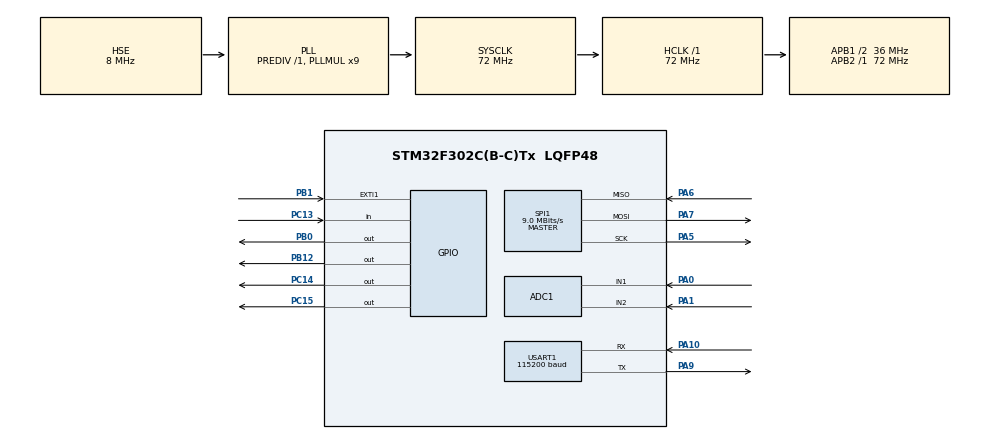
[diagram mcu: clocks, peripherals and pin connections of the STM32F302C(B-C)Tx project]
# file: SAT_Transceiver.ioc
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ADC1.Channel-0\#ChannelRegularConversion=ADC_CHANNEL_1
ADC1.Channel-1\#ChannelRegularConversion=ADC_CHANNEL_2
ADC1.ClockPrescaler=ADC_CLOCK_SYNC_PCLK_DIV2
ADC1.ContinuousConvMode=ENABLE
ADC1.DMAContinuousRequests=ENABLE
ADC1.DiscontinuousConvMode=DISABLE
ADC1.EOCSelection=ADC_EOC_SEQ_CONV
ADC1.ExternalTrigConv=ADC_EXTERNALTRIGCONV_T3_TRGO
ADC1.NbrOfConversion=2
ADC1.NbrOfConversionFlag=1
ADC1.Offset-0\#ChannelRegularConversion=0
ADC1.Offset-1\#ChannelRegularConversion=0
ADC1.OffsetNumber-0\#ChannelRegularConversion=ADC_OFFSET_NONE
ADC1.OffsetNumber-1\#ChannelRegularConversion=ADC_OFFSET_NONE
ADC1.Rank-0\#ChannelRegularConversion=1
ADC1.Rank-1\#ChannelRegularConversion=2
ADC1.SamplingTime-0\#ChannelRegularConversion=ADC_SAMPLETIME_601CYCLES_5
ADC1.SamplingTime-1\#ChannelRegularConversion=ADC_SAMPLETIME_601CYCLES_5
ADC1.SamplingTimeOPAMP-1\#ChannelRegularConversion=ADC_SAMPLETIME_7CYCLES_5
ADC1.master=1
Dma.ADC1.0.Direction=DMA_PERIPH_TO_MEMORY
Dma.ADC1.0.Instance=DMA1_Channel1
Dma.ADC1.0.MemDataAlignment=DMA_MDATAALIGN_HALFWORD
Dma.ADC1.0.MemInc=DMA_MINC_ENABLE
Dma.ADC1.0.Mode=DMA_CIRCULAR
Dma.ADC1.0.PeriphDataAlignment=DMA_PDATAALIGN_HALFWORD
Dma.ADC1.0.PeriphInc=DMA_PINC_DISABLE
Dma.ADC1.0.Priority=DMA_PRIORITY_LOW
Dma.Request0=ADC1
Dma.Request1=USART1_RX
Dma.USART1_RX.1.Direction=DMA_PERIPH_TO_MEMORY
Dma.USART1_RX.1.Instance=DMA1_Channel5
Dma.USART1_RX.1.MemDataAlignment=DMA_MDATAALIGN_BYTE
Dma.USART1_RX.1.MemInc=DMA_MINC_ENABLE
Dma.USART1_RX.1.Mode=DMA_NORMAL
Dma.USART1_RX.1.PeriphDataAlignment=DMA_PDATAALIGN_BYTE
Dma.USART1_RX.1.PeriphInc=DMA_PINC_DISABLE
Dma.USART1_RX.1.Priority=DMA_PRIORITY_LOW
FREERTOS.Tasks01=defaultTask,24,128,StartDefaultTask,Default,NULL,Dynamic,NULL,NULL
FREERTOS.configTOTAL_HEAP_SIZE=12288
Mcu.Family=STM32F3
Mcu.Name=STM32F302C(B-C)Tx
Mcu.Package=LQFP48
NVIC.ADC1_2_IRQn=true\:6\:0\:true\:false\:true\:true\:true\:true\:true
NVIC.DMA1_Channel1_IRQn=true\:6\:0\:true\:false\:true\:true\:false\:true\:true
NVIC.DMA1_Channel5_IRQn=true\:5\:0\:false\:false\:true\:true\:false\:true\:true
NVIC.EXTI1_IRQn=true\:6\:0\:true\:false\:true\:true\:true\:true\:true
NVIC.PriorityGroup=NVIC_PRIORITYGROUP_4
NVIC.TIM6_DAC_IRQn=true\:4\:0\:true\:false\:true\:false\:false\:true\:true
NVIC.TimeBase=TIM6_DAC_IRQn
NVIC.TimeBaseIP=TIM6
PA0.Mode=IN1-Single-Ended
PA0.Signal=ADC1_IN1
PA1.Mode=IN2-Single-Ended
PA1.Signal=ADC1_IN2
PA10.GPIO_PuPd=GPIO_PULLUP
PA10.Mode=Asynchronous
PA10.Signal=USART1_RX
PA13.Mode=Trace_Asynchronous_SW
PA13.Signal=SYS_JTMS-SWDIO
PA14.Mode=Trace_Asynchronous_SW
PA14.Signal=SYS_JTCK-SWCLK
PA5.Mode=Full_Duplex_Master
PA5.Signal=SPI1_SCK
PA6.Mode=Full_Duplex_Master
PA6.Signal=SPI1_MISO
PA7.Mode=Full_Duplex_Master
PA7.Signal=SPI1_MOSI
PA9.Mode=Asynchronous
PA9.Signal=USART1_TX
PB0.Signal=GPIO_Output
PB1.GPIO_PuPd=GPIO_PULLDOWN
PB1.Signal=GPXTI1
PB12.Signal=GPIO_Output
PB3.Mode=Trace_Asynchronous_SW
PB3.Signal=SYS_JTDO-TRACESWO
PC13.Signal=GPIO_Input
PC14-OSC32_IN.Signal=GPIO_Output
PC15-OSC32_OUT.Signal=GPIO_Output
PF0-OSC_IN.Mode=HSE-External-Oscillator
PF0-OSC_IN.Signal=RCC_OSC_IN
PF1-OSC_OUT.Mode=HSE-External-Oscillator
PF1-OSC_OUT.Signal=RCC_OSC_OUT
ProjectManager.HeapSize=0x200
ProjectManager.StackSize=0x400
ProjectManager.TargetToolchain=CMake
RCC.AHBFreq_Value=72000000
RCC.APB1CLKDivider=RCC_HCLK_DIV2
RCC.APB1Freq_Value=36000000
RCC.APB1TimFreq_Value=72000000
RCC.APB2Freq_Value=72000000
RCC.APB2TimFreq_Value=72000000
RCC.CortexFreq_Value=72000000
RCC.EnbaleCSS=true
RCC.HCLKFreq_Value=72000000
RCC.HSE_VALUE=8000000
RCC.HSI_VALUE=8000000
RCC.LSE_VALUE=32768
RCC.PLLMUL=RCC_PLL_MUL9
RCC.PLLSourceVirtual=RCC_PLLSOURCE_HSE
RCC.PRESCALERUSB=RCC_USBCLKSOURCE_PLL_DIV1_5
RCC.SYSCLKFreq_VALUE=72000000
RCC.SYSCLKSourceVirtual=RCC_SYSCLKSOURCE_PLLCLK
RCC.USBFreq_Value=48000000
SPI1.BaudRatePrescaler=SPI_BAUDRATEPRESCALER_8
SPI1.CLKPolarity=SPI_POLARITY_LOW
SPI1.CalculateBaudRate=9.0 MBits/s
SPI1.DataSize=SPI_DATASIZE_8BIT
SPI1.Direction=SPI_DIRECTION_2LINES
SPI1.Mode=SPI_MODE_MASTER
SPI1.VirtualType=VM_MASTER
TIM3.AutoReloadPreload=TIM_AUTORELOAD_PRELOAD_DISABLE
TIM3.Period=1000-1
TIM3.Prescaler=7200-1
TIM3.TIM_MasterOutputTrigger=TIM_TRGO_UPDATE
USART1.BaudRate=115200
USART1.VirtualMode-Asynchronous=VM_ASYNC
VP_FREERTOS_VS_CMSIS_V2.Mode=CMSIS_V2
VP_SYS_VS_tim6.Mode=TIM6
VP_TIM3_VS_ClockSourceINT.Mode=Internal
board=custom

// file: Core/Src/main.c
/* USER CODE BEGIN Header */
/**
  ******************************************************************************
  * @file           : main.c
  * @brief          : Main program body
  ******************************************************************************
  * @attention
  *
  * Copyright (c) 2025 STMicroelectronics.
  * All rights reserved.
  *
  * This software is licensed under terms that can be found in the LICENSE file
  * in the root directory of this software component.
  * If no LICENSE file comes with this software, it is provided AS-IS.
  *
  ******************************************************************************
  */
/* USER CODE END Header */
#include "main.h"
#include "cmsis_os.h"
#include "adc.h"
#include "dma.h"
#include "spi.h"
#include "tim.h"
#include "usart.h"
#include "gpio.h"

/* USER CODE BEGIN Includes */
#include "task.h"
#include "transceiver.h"
#include "temp_sensor.h"
#include "potentiometer.h"
#include "__public__ADF7030_1_fw_macro.h"
#include "semphr.h"
#include "commands.h"

#include "satellite_xcvr.h"
/* USER CODE END Includes */

/* USER CODE BEGIN PM */
#define ADC_NUM_CONVERSIONS 2

/* USER CODE END PM */

/* USER CODE BEGIN PV */

static uint16_t adc_data[ADC_NUM_CONVERSIONS];

float current_temperature;
float current_potentiometer_percentage;

SemaphoreHandle_t xUARTRxSemaphore;

QueueHandle_t xXCVR_txQueue;
QueueHandle_t xXCVR_rxQueue;

static SemaphoreHandle_t xXCVRMutex;
static SemaphoreHandle_t xRXReadySemaphore;

/* USER CODE END PV */

void SystemClock_Config(void);
void MX_FREERTOS_Init(void);

int main(void)
{

  /* USER CODE BEGIN 1 */
  BaseType_t xTransmitTaskReturned;
  BaseType_t xXCVR_RXTaskReturned;
  BaseType_t xSensorTaskReturned;

  TaskHandle_t xTransmitHandle = NULL;
  TaskHandle_t xReceiveHandle = NULL;
  TaskHandle_t xSensorHandle = NULL;

  BaseType_t xSAT_XCVR_CommandTaskReturned;
  TaskHandle_t xSAT_XCVR_CommandHandle = NULL;

  xUARTRxSemaphore = xSemaphoreCreateBinary();

  xXCVRMutex = xSemaphoreCreateMutex();
  xRXReadySemaphore = xSemaphoreCreateBinary();

  xXCVR_txQueue = xQueueCreate(5, sizeof(data_packet_s));
  xXCVR_rxQueue = xQueueCreate(5, sizeof(data_packet_s));
  /* USER CODE END 1 */

  /* MCU Configuration--------------------------------------------------------*/

  /* Reset of all peripherals, Initializes the Flash interface and the Systick. */
  HAL_Init();

  /* USER CODE BEGIN Init */
  xTransmitTaskReturned = xTaskCreate(
                            vXCVR_TXTask,
                            "Transmit",
                            XCVR_TX_STACK_SIZE,
                            NULL,
                            2,
                            &xTransmitHandle);

  xXCVR_RXTaskReturned = xTaskCreate(
                          vXCVR_RXTask,
                          "XCVR_RX",
                          XCVR_RX_STACK_SIZE,
                          NULL,
                          1,
                          &xReceiveHandle);

  xSAT_XCVR_CommandTaskReturned = xTaskCreate(
                              vSAT_XCVR_CommandTask,
                              "SAT_XCVR_Command",
                              SAT_XCVR_COMMAND_STACK_SIZE,
                              NULL,
                              3,
                              &xSAT_XCVR_CommandHandle);
  /* USER CODE END Init */

  /* Configure the system clock */
  SystemClock_Config();

  /* Initialize all configured peripherals */
  MX_GPIO_Init();
  MX_DMA_Init();
  MX_ADC1_Init();
  MX_USART1_UART_Init();
  MX_SPI1_Init();
  MX_TIM3_Init();
  /* USER CODE BEGIN 2 */

  // Turn on XCVR power
  HAL_GPIO_WritePin(GPIOC, GPIO_PIN_14, GPIO_PIN_SET);

  ADF7030_init(&hspi1, GPIOB, GPIO_PIN_0, GPIOC, GPIO_PIN_15, GPIOA, GPIO_PIN_6);

  HAL_ADCEx_Calibration_Start(&hadc1, ADC_SINGLE_ENDED);
  HAL_ADC_Start_DMA(&hadc1, (uint32_t *) adc_data, ADC_NUM_CONVERSIONS);

  HAL_TIM_Base_Start(&htim3);
  /* USER CODE END 2 */

  /* Init scheduler */
  osKernelInitialize();

  /* Call init function for freertos objects (in cmsis_os2.c) */
  MX_FREERTOS_Init();

  /* Start scheduler */
  osKernelStart();

  /* We should never get here as control is now taken by the scheduler */

  /* Infinite loop */
  /* USER CODE BEGIN WHILE */
  vTaskStartScheduler();
  while (1)
  {
    /* USER CODE END WHILE */

  }
}

void SystemClock_Config(void)
{
  RCC_OscInitTypeDef RCC_OscInitStruct = {0};
  RCC_ClkInitTypeDef RCC_ClkInitStruct = {0};
  RCC_PeriphCLKInitTypeDef PeriphClkInit = {0};

  /** Initializes the RCC Oscillators according to the specified parameters
  * in the RCC_OscInitTypeDef structure.
  */
  RCC_OscInitStruct.OscillatorType = RCC_OSCILLATORTYPE_HSE;
  RCC_OscInitStruct.HSEState = RCC_HSE_ON;
  RCC_OscInitStruct.HSEPredivValue = RCC_HSE_PREDIV_DIV1;
  RCC_OscInitStruct.HSIState = RCC_HSI_ON;
  RCC_OscInitStruct.PLL.PLLState = RCC_PLL_ON;
  RCC_OscInitStruct.PLL.PLLSource = RCC_PLLSOURCE_HSE;
  RCC_OscInitStruct.PLL.PLLMUL = RCC_PLL_MUL9;
  if (HAL_RCC_OscConfig(&RCC_OscInitStruct) != HAL_OK)
  {
    Error_Handler();
  }

  /** Initializes the CPU, AHB and APB buses clocks
  */
  RCC_ClkInitStruct.ClockType = RCC_CLOCKTYPE_HCLK|RCC_CLOCKTYPE_SYSCLK
                              |RCC_CLOCKTYPE_PCLK1|RCC_CLOCKTYPE_PCLK2;
  RCC_ClkInitStruct.SYSCLKSource = RCC_SYSCLKSOURCE_PLLCLK;
  RCC_ClkInitStruct.AHBCLKDivider = RCC_SYSCLK_DIV1;
  RCC_ClkInitStruct.APB1CLKDivider = RCC_HCLK_DIV2;
  RCC_ClkInitStruct.APB2CLKDivider = RCC_HCLK_DIV1;

  if (HAL_RCC_ClockConfig(&RCC_ClkInitStruct, FLASH_LATENCY_2) != HAL_OK)
  {
    Error_Handler();
  }
  PeriphClkInit.PeriphClockSelection = RCC_PERIPHCLK_USART1;
  PeriphClkInit.Usart1ClockSelection = RCC_USART1CLKSOURCE_PCLK2;
  if (HAL_RCCEx_PeriphCLKConfig(&PeriphClkInit) != HAL_OK)
  {
    Error_Handler();
  }

  /** Enables the Clock Security System
  */
  HAL_RCC_EnableCSS();
}

/* USER CODE BEGIN 4 */
void vXCVR_TXTask(void *pvParameters) {
  data_packet_s packetToSend;
  for(;;) {

    // Pull a packet off the transmit queue and send it via the transceiver
    // Should disable the input interrupt during this as the ISR will get triggered for receiving
    xQueueReceive(xXCVR_txQueue, &packetToSend, portMAX_DELAY);
    xSemaphoreTake(xXCVRMutex, portMAX_DELAY);

    // Disable the interrupt tied to the XCVR as this gets flagged when a transmission or a reception is complete
    HAL_NVIC_DisableIRQ(EXTI1_IRQn);

    ADF7030_transmitPacket(&packetToSend);

    // Clear the interrupt flag and re-enable the interrupt
    __HAL_GPIO_EXTI_CLEAR_IT(GPIO_PIN_1);
    HAL_NVIC_EnableIRQ(EXTI1_IRQn);

    xSemaphoreGive(xXCVRMutex);
  }

  vTaskDelete(NULL);
}

void vXCVR_RXTask(void * pvParameters) {

  data_packet_s receivedPacket;
  for(;;) {

    // Wait until a packet has been received, then read it
    xSemaphoreTake(xRXReadySemaphore, portMAX_DELAY);
    xSemaphoreTake(xXCVRMutex, portMAX_DELAY);

    TRANSCEIVER_ERR_e result = ADF7030_receivePacket(&receivedPacket);
    xSemaphoreGive(xXCVRMutex);

    if (result != TRANSCEIVER_ERR_OK) {
      continue;
    }

    xQueueSend(xXCVR_rxQueue, &receivedPacket, portMAX_DELAY);
  }

  vTaskDelete(NULL);
}

void vSAT_XCVR_CommandTask(void * pvParameters) {

  for(;;) {

    // Wait until there is a packet received from the transceiver, then process it
    data_packet_s receivedPacket;
    xQueueReceive(xXCVR_rxQueue, &receivedPacket, portMAX_DELAY);

    SAT_XCVR_processCommand(&receivedPacket);
  }

  vTaskDelete(NULL);
}

void HAL_GPIO_EXTI_Callback(uint16_t GPIO_Pin) {
  if(GPIO_Pin == GPIO_PIN_1) {

    BaseType_t xHigherPriorityTaskWoken = pdFALSE;
    xSemaphoreGiveFromISR(xRXReadySemaphore, &xHigherPriorityTaskWoken);
    portYIELD_FROM_ISR(xHigherPriorityTaskWoken);
  }
}

void HAL_ADC_ConvCpltCallback(ADC_HandleTypeDef* hadc) {
  if (hadc->Instance == ADC1) {
    current_potentiometer_percentage = potentiometer_ADCToPercentage(adc_data[0]);
    current_temperature = temp_sensor_ADCToTemperature(adc_data[1]);
  }
}

void HAL_UART_RxCpltCallback(UART_HandleTypeDef *huart) {
  if (huart->Instance == USART1) {
    BaseType_t xHigherPriorityTaskWoken = pdFALSE;
    xSemaphoreGiveFromISR(xUARTRxSemaphore, &xHigherPriorityTaskWoken);
    portYIELD_FROM_ISR(xHigherPriorityTaskWoken);
  }
}
/* USER CODE END 4 */

void HAL_TIM_PeriodElapsedCallback(TIM_HandleTypeDef *htim)
{
  if (htim->Instance == TIM6) {
    HAL_IncTick();
  }
}

void Error_Handler(void)
{
  __disable_irq();
  while (1)
  {
  }
}

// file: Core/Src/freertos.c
/* USER CODE BEGIN Header */
/**
  ******************************************************************************
  * File Name          : freertos.c
  * Description        : Code for freertos applications
  ******************************************************************************
  * @attention
  *
  * Copyright (c) 2025 STMicroelectronics.
  * All rights reserved.
  *
  * This software is licensed under terms that can be found in the LICENSE file
  * in the root directory of this software component.
  * If no LICENSE file comes with this software, it is provided AS-IS.
  *
  ******************************************************************************
  */
/* USER CODE END Header */

#include "FreeRTOS.h"
#include "task.h"
#include "main.h"
#include "cmsis_os.h"

/* Definitions for defaultTask */
osThreadId_t defaultTaskHandle;
const osThreadAttr_t defaultTask_attributes = {
  .name = "defaultTask",
  .stack_size = 128 * 4,
  .priority = (osPriority_t) osPriorityNormal,
};

void StartDefaultTask(void *argument);

extern void MX_USB_DEVICE_Init(void);
void MX_FREERTOS_Init(void); /* (MISRA C 2004 rule 8.1) */

void MX_FREERTOS_Init(void) {

  /* Create the thread(s) */
  /* creation of defaultTask */
  defaultTaskHandle = osThreadNew(StartDefaultTask, NULL, &defaultTask_attributes);

}

void StartDefaultTask(void *argument)
{
  /* init code for USB_DEVICE */
  //MX_USB_DEVICE_Init();
  for(;;)
  {
    osDelay(1);
  }
}
